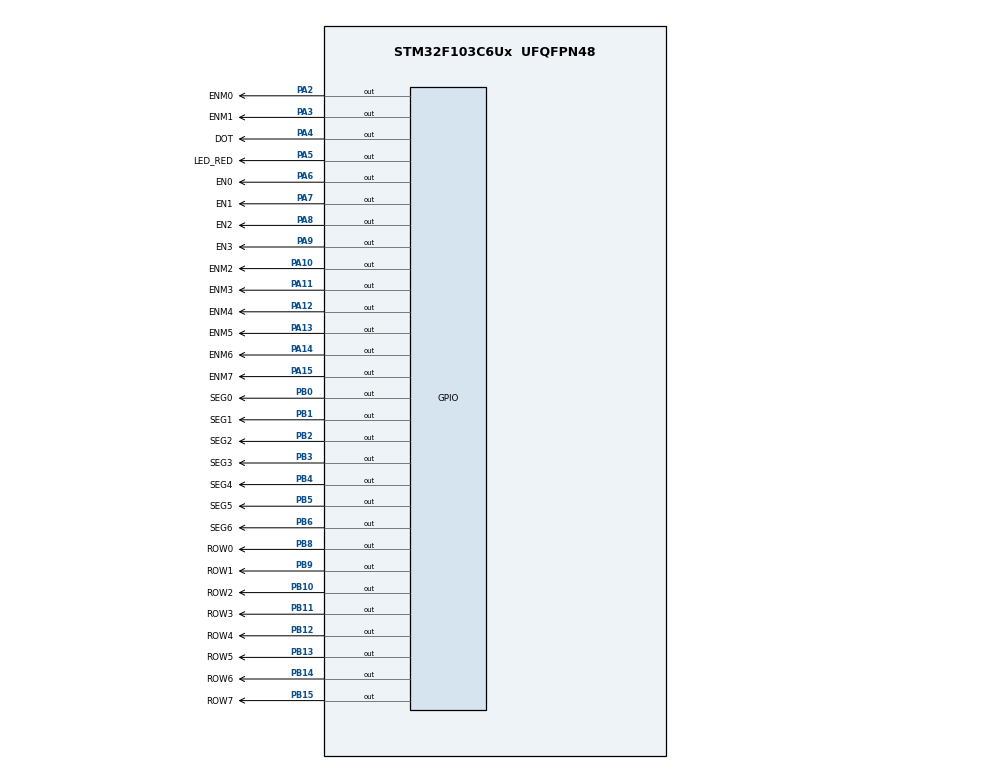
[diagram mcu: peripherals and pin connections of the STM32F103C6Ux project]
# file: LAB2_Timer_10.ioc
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Mcu.Family=STM32F1
Mcu.Name=STM32F103C6Ux
Mcu.Package=UFQFPN48
NVIC.PriorityGroup=NVIC_PRIORITYGROUP_4
NVIC.TIM2_IRQn=true\:0\:0\:false\:false\:true\:true\:true
PA10.GPIO_Label=ENM2
PA10.Signal=GPIO_Output
PA11.GPIO_Label=ENM3
PA11.Signal=GPIO_Output
PA12.GPIO_Label=ENM4
PA12.Signal=GPIO_Output
PA13.GPIO_Label=ENM5
PA13.Signal=GPIO_Output
PA14.GPIO_Label=ENM6
PA14.Signal=GPIO_Output
PA15.GPIO_Label=ENM7
PA15.Signal=GPIO_Output
PA2.GPIO_Label=ENM0
PA2.Signal=GPIO_Output
PA3.GPIO_Label=ENM1
PA3.Signal=GPIO_Output
PA4.GPIO_Label=DOT
PA4.Signal=GPIO_Output
PA5.GPIO_Label=LED_RED
PA5.Signal=GPIO_Output
PA6.GPIO_Label=EN0
PA6.Signal=GPIO_Output
PA7.GPIO_Label=EN1
PA7.Signal=GPIO_Output
PA8.GPIO_Label=EN2
PA8.Signal=GPIO_Output
PA9.GPIO_Label=EN3
PA9.Signal=GPIO_Output
PB0.GPIO_Label=SEG0
PB0.Signal=GPIO_Output
PB1.GPIO_Label=SEG1
PB1.Signal=GPIO_Output
PB10.GPIO_Label=ROW2
PB10.Signal=GPIO_Output
PB11.GPIO_Label=ROW3
PB11.Signal=GPIO_Output
PB12.GPIO_Label=ROW4
PB12.Signal=GPIO_Output
PB13.GPIO_Label=ROW5
PB13.Signal=GPIO_Output
PB14.GPIO_Label=ROW6
PB14.Signal=GPIO_Output
PB15.GPIO_Label=ROW7
PB15.Signal=GPIO_Output
PB2.GPIO_Label=SEG2
PB2.Signal=GPIO_Output
PB3.GPIO_Label=SEG3
PB3.Signal=GPIO_Output
PB4.GPIO_Label=SEG4
PB4.Signal=GPIO_Output
PB5.GPIO_Label=SEG5
PB5.Signal=GPIO_Output
PB6.GPIO_Label=SEG6
PB6.Signal=GPIO_Output
PB8.GPIO_Label=ROW0
PB8.Signal=GPIO_Output
PB9.GPIO_Label=ROW1
PB9.Signal=GPIO_Output
ProjectManager.HeapSize=0x200
ProjectManager.StackSize=0x400
ProjectManager.TargetToolchain=STM32CubeIDE
RCC.APB1Freq_Value=8000000
RCC.APB2Freq_Value=8000000
TIM2.Period=9
TIM2.Prescaler=7999
VP_SYS_VS_ND.Mode=No_Debug
VP_TIM2_VS_ClockSourceINT.Mode=Internal
board=custom

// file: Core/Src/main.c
/* USER CODE BEGIN Header */
/* USER CODE END Header */
#include "main.h"

TIM_HandleTypeDef htim2;

void SystemClock_Config(void);
static void MX_GPIO_Init(void);
static void MX_TIM2_Init(void);

/* USER CODE BEGIN 0 */

/* ================= 7SEG ================= */
// 0 = đoạn SÁNG, 1 = TẮT (7SEG anode chung)
uint8_t segTable[10][7] = {
    // a  b  c  d  e  f  g
    {  0, 0, 0, 0, 0, 0, 1 },   // 0
    {  1, 0, 0, 1, 1, 1, 1 },   // 1
    {  0, 0, 1, 0, 0, 1, 0 },   // 2
    {  0, 0, 0, 0, 1, 1, 0 },   // 3
    {  1, 0, 0, 1, 1, 0, 0 },   // 4
    {  0, 1, 0, 0, 1, 0, 0 },   // 5
    {  0, 1, 0, 0, 0, 0, 0 },   // 6
    {  0, 0, 0, 1, 1, 1, 1 },   // 7
    {  0, 0, 0, 0, 0, 0, 0 },   // 8
    {  0, 0, 0, 0, 1, 0, 0 }    // 9
};

void display7SEG(int num) {
    HAL_GPIO_WritePin(SEG0_GPIO_Port, SEG0_Pin, segTable[num][0]);
    HAL_GPIO_WritePin(SEG1_GPIO_Port, SEG1_Pin, segTable[num][1]);
    HAL_GPIO_WritePin(SEG2_GPIO_Port, SEG2_Pin, segTable[num][2]);
    HAL_GPIO_WritePin(SEG3_GPIO_Port, SEG3_Pin, segTable[num][3]);
    HAL_GPIO_WritePin(SEG4_GPIO_Port, SEG4_Pin, segTable[num][4]);
    HAL_GPIO_WritePin(SEG5_GPIO_Port, SEG5_Pin, segTable[num][5]);
    HAL_GPIO_WritePin(SEG6_GPIO_Port, SEG6_Pin, segTable[num][6]);
}

void turnOffAll7SEG(void) {
    HAL_GPIO_WritePin(EN0_GPIO_Port, EN0_Pin | EN1_Pin | EN2_Pin | EN3_Pin, GPIO_PIN_SET);
}

void turnOn7SEG(int index) {
    switch (index) {
        case 0: HAL_GPIO_WritePin(EN0_GPIO_Port, EN0_Pin, GPIO_PIN_RESET); break;
        case 1: HAL_GPIO_WritePin(EN1_GPIO_Port, EN1_Pin, GPIO_PIN_RESET); break;
        case 2: HAL_GPIO_WritePin(EN2_GPIO_Port, EN2_Pin, GPIO_PIN_RESET); break;
        case 3: HAL_GPIO_WritePin(EN3_GPIO_Port, EN3_Pin, GPIO_PIN_RESET); break;
        default: break;
    }
}

const int MAX_LED = 4;
int index_led = 0;
int led_buffer[4] = {1, 2, 3, 4};

void update7SEG(int index) {
    turnOffAll7SEG();
    switch (index) {
        case 0: display7SEG(led_buffer[0]); turnOn7SEG(0); break;
        case 1: display7SEG(led_buffer[1]); turnOn7SEG(1); break;
        case 2: display7SEG(led_buffer[2]); turnOn7SEG(2); break;
        case 3: display7SEG(led_buffer[3]); turnOn7SEG(3); break;
        default: break;
    }
}

/* ================= ĐỒNG HỒ ================= */
int hour = 15, minute = 8, second = 50;

void updateClockBuffer(void) {
    led_buffer[0] = hour / 10;
    led_buffer[1] = hour % 10;
    led_buffer[2] = minute / 10;
    led_buffer[3] = minute % 10;
}

/* ================= SOFTWARE TIMER ================= */
int TIMER_CYCLE = 10;                     // chu kỳ ngắt TIM2 = 10ms

int timer0_counter = 0, timer0_flag = 0;  // 1s: đồng hồ + DOT
int timer1_counter = 0, timer1_flag = 0;  // 250ms: quét 7SEG
int timer2_counter = 0, timer2_flag = 0;  // 10ms: quét LED matrix
int timer3_counter = 0, timer3_flag = 0;  // 200ms: dịch chữ (Ex10)

void setTimer0(int duration) { timer0_counter = duration / TIMER_CYCLE; timer0_flag = 0; }
void setTimer1(int duration) { timer1_counter = duration / TIMER_CYCLE; timer1_flag = 0; }
void setTimer2(int duration) { timer2_counter = duration / TIMER_CYCLE; timer2_flag = 0; }
void setTimer3(int duration) { timer3_counter = duration / TIMER_CYCLE; timer3_flag = 0; }

void timer_run(void) {
    if (timer0_counter > 0) { timer0_counter--; if (timer0_counter == 0) timer0_flag = 1; }
    if (timer1_counter > 0) { timer1_counter--; if (timer1_counter == 0) timer1_flag = 1; }
    if (timer2_counter > 0) { timer2_counter--; if (timer2_counter == 0) timer2_flag = 1; }
    if (timer3_counter > 0) { timer3_counter--; if (timer3_counter == 0) timer3_flag = 1; }
}

/* ================= LED MATRIX ================= */
const int MAX_LED_MATRIX = 8;
int index_led_matrix = 0;

// Mỗi phần tử = 1 HÀNG NGANG (chọn bằng COLr qua ULN), bit c = cột dọc c (ROWc). 1 = sáng.
// Nội dung được loadFrame() tạo ra từ chuỗi TRINH.
uint8_t matrix_buffer[8] = {0};

/* ===== Ex10: chữ TRINH chạy từ phải sang trái ===== */
// Font 5x7: mỗi byte = 1 CỘT của chữ, bit r = hàng r (bit0 = hàng trên cùng)
const uint8_t text_cols[] = {
    0,0,0,0,0,0,0,0,                         // 8 cột trống: chữ chạy vào từ mép phải
    0x01,0x01,0x7F,0x01,0x01, 0,             // T
    0x7F,0x09,0x19,0x29,0x46, 0,             // R
    0x00,0x41,0x7F,0x41,0x00, 0,             // I
    0x7F,0x04,0x08,0x10,0x7F, 0,             // N
    0x7F,0x08,0x08,0x08,0x7F, 0              // H
};
#define TEXT_LEN (sizeof(text_cols))         // 38 cột
int text_offset = 0;                         // cột chữ đang nằm ở mép trái ma trận

// Cắt 8 cột text_cols[text_offset .. text_offset+7] rồi đổi sang dạng hàng cho matrix_buffer
void loadFrame(void) {
    for (int r = 0; r < 8; r++) {            // từng hàng ngang
        uint8_t rowBits = 0;
        for (int c = 0; c < 8; c++) {        // từng cột dọc
            uint8_t col = text_cols[(text_offset + c) % TEXT_LEN];
            if (col & (1 << r)) rowBits |= (1 << c);
        }
        matrix_buffer[r] = rowBits;
    }
}

// Dịch chữ sang trái 1 cột (quay vòng)
void shiftTextLeft(void) {
    text_offset = (text_offset + 1) % TEXT_LEN;
    loadFrame();
}

// Tắt hết: ENM = RESET -> ULN không kéo hàng nào xuống
void clearAllColumns(void) {
    HAL_GPIO_WritePin(ENM0_GPIO_Port,
        ENM0_Pin | ENM1_Pin | ENM2_Pin | ENM3_Pin |
        ENM4_Pin | ENM5_Pin | ENM6_Pin | ENM7_Pin, GPIO_PIN_RESET);
}

// Hiện hàng index: ghi 8 cột ra ROW, rồi kéo hàng đó xuống bằng ENM = SET
void updateLEDMatrix(int index) {
    clearAllColumns();

    uint8_t pattern = matrix_buffer[index];
    for (int i = 0; i < 8; i++) {
        // bit = 1 -> ROW = SET (anode lên cao -> sáng)
        HAL_GPIO_WritePin(ROW0_GPIO_Port, ROW0_Pin << i,
                          (pattern & (1 << i)) ? GPIO_PIN_SET : GPIO_PIN_RESET);
    }

    switch (index) {
        case 0: HAL_GPIO_WritePin(ENM0_GPIO_Port, ENM0_Pin, GPIO_PIN_SET); break;
        case 1: HAL_GPIO_WritePin(ENM1_GPIO_Port, ENM1_Pin, GPIO_PIN_SET); break;
        case 2: HAL_GPIO_WritePin(ENM2_GPIO_Port, ENM2_Pin, GPIO_PIN_SET); break;
        case 3: HAL_GPIO_WritePin(ENM3_GPIO_Port, ENM3_Pin, GPIO_PIN_SET); break;
        case 4: HAL_GPIO_WritePin(ENM4_GPIO_Port, ENM4_Pin, GPIO_PIN_SET); break;
        case 5: HAL_GPIO_WritePin(ENM5_GPIO_Port, ENM5_Pin, GPIO_PIN_SET); break;
        case 6: HAL_GPIO_WritePin(ENM6_GPIO_Port, ENM6_Pin, GPIO_PIN_SET); break;
        case 7: HAL_GPIO_WritePin(ENM7_GPIO_Port, ENM7_Pin, GPIO_PIN_SET); break;
        default: break;
    }
}

/* ================= KHỞI TẠO ================= */
void allOff(void) {
    turnOffAll7SEG();
    clearAllColumns();
    HAL_GPIO_WritePin(DOT_GPIO_Port, DOT_Pin, GPIO_PIN_SET);
    HAL_GPIO_WritePin(LED_RED_GPIO_Port, LED_RED_Pin, GPIO_PIN_SET);
}
/* USER CODE END 0 */

int main(void)
{

  /* MCU Configuration--------------------------------------------------------*/

  /* Reset of all peripherals, Initializes the Flash interface and the Systick. */
  HAL_Init();

  /* Configure the system clock */
  SystemClock_Config();

  /* Initialize all configured peripherals */
  MX_GPIO_Init();
  MX_TIM2_Init();
  /* USER CODE BEGIN 2 */
  allOff();
  HAL_TIM_Base_Start_IT(&htim2);
  /* USER CODE END 2 */

  /* Infinite loop */
  /* USER CODE BEGIN WHILE */
  updateClockBuffer();
  setTimer0(1000);     // đồng hồ + DOT
  setTimer1(250);      // quét 7SEG
  setTimer2(10);       // quét LED matrix
  loadFrame();         // khung hình đầu tiên
  setTimer3(200);      // dịch chữ mỗi 200ms
  while (1)
  {
      if (timer0_flag == 1) {                 // mỗi 1s
          setTimer0(1000);
          HAL_GPIO_TogglePin(DOT_GPIO_Port, DOT_Pin);
          second++;
          if (second >= 60) { second = 0; minute++; }
          if (minute >= 60) { minute = 0; hour++; }
          if (hour >= 24)   { hour = 0; }
          updateClockBuffer();
      }

      if (timer1_flag == 1) {                 // mỗi 250ms
          setTimer1(250);
          update7SEG(index_led++);
          if (index_led >= MAX_LED) index_led = 0;
      }

      if (timer2_flag == 1) {                 // mỗi 10ms
          setTimer2(10);
          updateLEDMatrix(index_led_matrix++);
          if (index_led_matrix >= MAX_LED_MATRIX) index_led_matrix = 0;
      }

      if (timer3_flag == 1) {                 // mỗi 200ms: dịch chữ sang trái
          setTimer3(200);
          shiftTextLeft();
      }
    /* USER CODE END WHILE */

  }
}

void SystemClock_Config(void)
{
  RCC_OscInitTypeDef RCC_OscInitStruct = {0};
  RCC_ClkInitTypeDef RCC_ClkInitStruct = {0};

  /** Initializes the RCC Oscillators according to the specified parameters
  * in the RCC_OscInitTypeDef structure.
  */
  RCC_OscInitStruct.OscillatorType = RCC_OSCILLATORTYPE_HSI;
  RCC_OscInitStruct.HSIState = RCC_HSI_ON;
  RCC_OscInitStruct.HSICalibrationValue = RCC_HSICALIBRATION_DEFAULT;
  RCC_OscInitStruct.PLL.PLLState = RCC_PLL_NONE;
  if (HAL_RCC_OscConfig(&RCC_OscInitStruct) != HAL_OK)
  {
    Error_Handler();
  }
  /** Initializes the CPU, AHB and APB buses clocks
  */
  RCC_ClkInitStruct.ClockType = RCC_CLOCKTYPE_HCLK|RCC_CLOCKTYPE_SYSCLK
                              |RCC_CLOCKTYPE_PCLK1|RCC_CLOCKTYPE_PCLK2;
  RCC_ClkInitStruct.SYSCLKSource = RCC_SYSCLKSOURCE_HSI;
  RCC_ClkInitStruct.AHBCLKDivider = RCC_SYSCLK_DIV1;
  RCC_ClkInitStruct.APB1CLKDivider = RCC_HCLK_DIV1;
  RCC_ClkInitStruct.APB2CLKDivider = RCC_HCLK_DIV1;

  if (HAL_RCC_ClockConfig(&RCC_ClkInitStruct, FLASH_LATENCY_0) != HAL_OK)
  {
    Error_Handler();
  }
}

static void MX_TIM2_Init(void)
{

  TIM_ClockConfigTypeDef sClockSourceConfig = {0};
  TIM_MasterConfigTypeDef sMasterConfig = {0};

  htim2.Instance = TIM2;
  htim2.Init.Prescaler = 7999;
  htim2.Init.CounterMode = TIM_COUNTERMODE_UP;
  htim2.Init.Period = 9;
  htim2.Init.ClockDivision = TIM_CLOCKDIVISION_DIV1;
  htim2.Init.AutoReloadPreload = TIM_AUTORELOAD_PRELOAD_DISABLE;
  if (HAL_TIM_Base_Init(&htim2) != HAL_OK)
  {
    Error_Handler();
  }
  sClockSourceConfig.ClockSource = TIM_CLOCKSOURCE_INTERNAL;
  if (HAL_TIM_ConfigClockSource(&htim2, &sClockSourceConfig) != HAL_OK)
  {
    Error_Handler();
  }
  sMasterConfig.MasterOutputTrigger = TIM_TRGO_RESET;
  sMasterConfig.MasterSlaveMode = TIM_MASTERSLAVEMODE_DISABLE;
  if (HAL_TIMEx_MasterConfigSynchronization(&htim2, &sMasterConfig) != HAL_OK)
  {
    Error_Handler();
  }

}

static void MX_GPIO_Init(void)
{
  GPIO_InitTypeDef GPIO_InitStruct = {0};

  /* GPIO Ports Clock Enable */
  __HAL_RCC_GPIOA_CLK_ENABLE();
  __HAL_RCC_GPIOB_CLK_ENABLE();

  /*Configure GPIO pin Output Level */
  HAL_GPIO_WritePin(GPIOA, ENM0_Pin|ENM1_Pin|DOT_Pin|LED_RED_Pin
                          |EN0_Pin|EN1_Pin|EN2_Pin|EN3_Pin
                          |ENM2_Pin|ENM3_Pin|ENM4_Pin|ENM5_Pin
                          |ENM6_Pin|ENM7_Pin, GPIO_PIN_RESET);

  /*Configure GPIO pin Output Level */
  HAL_GPIO_WritePin(GPIOB, SEG0_Pin|SEG1_Pin|SEG2_Pin|ROW2_Pin
                          |ROW3_Pin|ROW4_Pin|ROW5_Pin|ROW6_Pin
                          |ROW7_Pin|SEG3_Pin|SEG4_Pin|SEG5_Pin
                          |SEG6_Pin|ROW0_Pin|ROW1_Pin, GPIO_PIN_RESET);

  /*Configure GPIO pins : ENM0_Pin ENM1_Pin DOT_Pin LED_RED_Pin
                           EN0_Pin EN1_Pin EN2_Pin EN3_Pin
                           ENM2_Pin ENM3_Pin ENM4_Pin ENM5_Pin
                           ENM6_Pin ENM7_Pin */
  GPIO_InitStruct.Pin = ENM0_Pin|ENM1_Pin|DOT_Pin|LED_RED_Pin
                          |EN0_Pin|EN1_Pin|EN2_Pin|EN3_Pin
                          |ENM2_Pin|ENM3_Pin|ENM4_Pin|ENM5_Pin
                          |ENM6_Pin|ENM7_Pin;
  GPIO_InitStruct.Mode = GPIO_MODE_OUTPUT_PP;
  GPIO_InitStruct.Pull = GPIO_NOPULL;
  GPIO_InitStruct.Speed = GPIO_SPEED_FREQ_LOW;
  HAL_GPIO_Init(GPIOA, &GPIO_InitStruct);

  /*Configure GPIO pins : SEG0_Pin SEG1_Pin SEG2_Pin ROW2_Pin
                           ROW3_Pin ROW4_Pin ROW5_Pin ROW6_Pin
                           ROW7_Pin SEG3_Pin SEG4_Pin SEG5_Pin
                           SEG6_Pin ROW0_Pin ROW1_Pin */
  GPIO_InitStruct.Pin = SEG0_Pin|SEG1_Pin|SEG2_Pin|ROW2_Pin
                          |ROW3_Pin|ROW4_Pin|ROW5_Pin|ROW6_Pin
                          |ROW7_Pin|SEG3_Pin|SEG4_Pin|SEG5_Pin
                          |SEG6_Pin|ROW0_Pin|ROW1_Pin;
  GPIO_InitStruct.Mode = GPIO_MODE_OUTPUT_PP;
  GPIO_InitStruct.Pull = GPIO_NOPULL;
  GPIO_InitStruct.Speed = GPIO_SPEED_FREQ_LOW;
  HAL_GPIO_Init(GPIOB, &GPIO_InitStruct);

}

/* USER CODE BEGIN 4 */
void HAL_TIM_PeriodElapsedCallback(TIM_HandleTypeDef *htim) {
    if (htim->Instance == TIM2) {
        timer_run();
    }
}
/* USER CODE END 4 */

void Error_Handler(void)
{
  __disable_irq();
  while (1)
  {
  }
}

/************************ (C) COPYRIGHT STMicroelectronics *****END OF FILE****/
